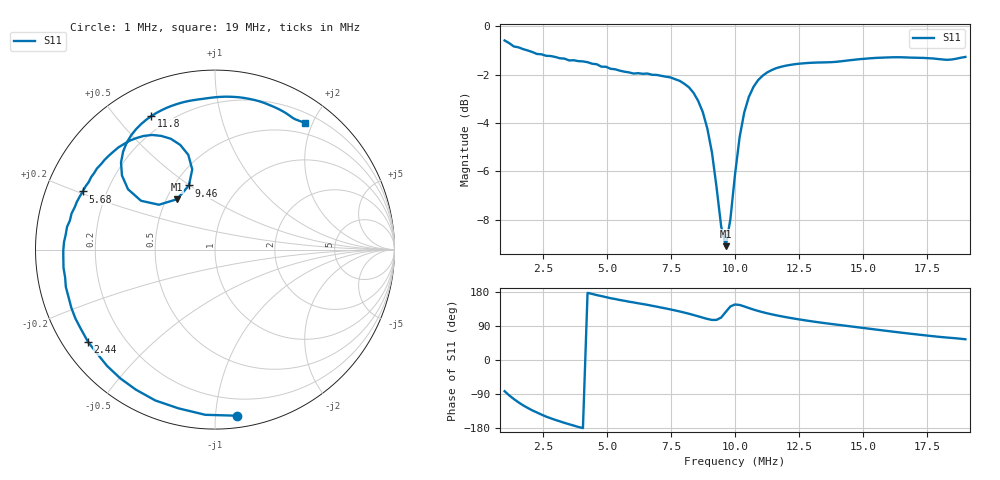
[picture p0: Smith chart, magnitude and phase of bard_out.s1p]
# Hz S RI R 50
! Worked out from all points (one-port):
!   101 points, 1 MHz to 19 MHz, reference 50 ohm
!   lowest |S11| = -9.1 dB at 9.64 MHz (marker M1), VSWR 2.08, Z = 28.3 + j18.2 ohm
!   |S11| at or under -10 dB: nowhere
!   S11 on the Smith chart (normalised r, x): 1 MHz: 0.08, -1.14; 2.44 MHz: 0.07, -0.32; 5.68 MHz: 0.11, +0.21; 9.46 MHz: 0.59, +0.50; 11.8 MHz: 0.13, +0.62; 19 MHz: 0.34, +1.88
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1000000  0.1242 -0.9255
1360000  -0.2038 -0.8844
1720000  -0.4414 -0.78
2080000  -0.6016 -0.6477
2440000  -0.7078 -0.5134
2800000  -0.7778 -0.3836
3340000  -0.831 -0.2081
4240000  -0.8412 0.0425
5500000  -0.7517 0.299
5680000  -0.7371 0.3238
6940000  -0.6145 0.5008
7840000  -0.4751 0.6069
8380000  -0.3498 0.6387
8740000  -0.2464 0.6177
9100000  -0.1488 0.5279
9280000  -0.1268 0.4471
9460000  -0.1453 0.3576
9640000  -0.2115 0.2808
9820000  -0.3121 0.2499
1e7  -0.412 0.272
1.018e7  -0.4846 0.3361
1.054e7  -0.5236 0.4855
1.108e7  -0.4666 0.6374
1.18e7  -0.3542 0.7441
1.234e7  -0.2713 0.789
1.45e7  0.0163 0.8501
1.684e7  0.3019 0.8061
1.9e7  0.4988 0.7049
